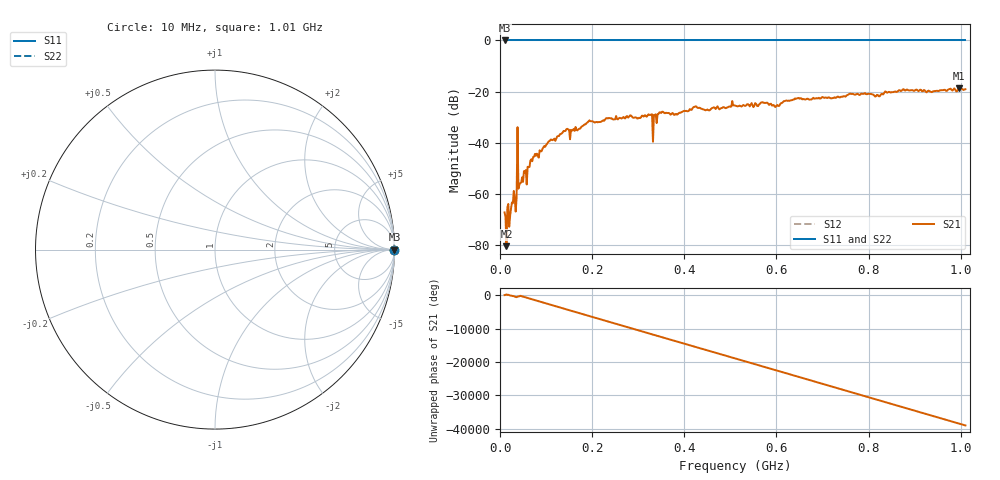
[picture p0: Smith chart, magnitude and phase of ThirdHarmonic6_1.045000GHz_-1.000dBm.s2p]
! 8/16/2025 9:08:50 AM
! C:\ANRITSUVNA\TEMP\TEMP.S2P
! CHANNEL.1
! TR.MEASUREMENT
! RAW.DATA
! RF.CORRECTION.OFF
! AVERAGING.OFF
! IF.BANDWIDTH: 5KHZ
! SWEEPTYPE:  FREQ.SWEEP(Linear)
! Reference Plane Port Info
! PORT:  PORT1  PORT2
! DISTANCE:  0  m  0  m
! TIME:  0  s  0  s
! PHASE.OFFSET:  0  deg.  0  deg.
! LOSS:  0  dB  0  dB
! REF.LOSS:  0  dB  0  dB
! REF.FREQ:  0  Hz  0  Hz
! Power Info
! POWER:  -20  dBm  -20  dBm
! EFF.POWER:  -20  dBm  -20  dBm
! SOURCE.ATTEN:  0  dB  0  dB
! TEST.ATTEN:  0  dB  0  dB
# GHZ S RI R 50.0
! FREQ.GHZ  S11RE  S11IM  S21RE  S21IM  S12RE  S12IM  S22RE  S22IM
!; PortSelection: Port_12
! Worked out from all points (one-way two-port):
!   501 points, 10 MHz to 1.01 GHz, reference 50 ohm
!   highest |S21| = -18.65 dB at 996 MHz (marker M1); lowest = -80.5 dB at 14 MHz (marker M2)
!   lowest |S11| = 0.0 dB at 10 MHz (marker M3)
!   |S11| at or under -10 dB: nowhere
!   |S22| runs from 0.0 to 0.0 dB; largest |S21 - S12| = 1.1
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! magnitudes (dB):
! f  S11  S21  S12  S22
! 10 MHz  0.0  -67.3  0.0  0.0
! 14 MHz  0.0  -80.5  0.0  0.0
! 18 MHz  0.0  -63.9  0.0  0.0
! 28 MHz  0.0  -63.6  0.0  0.0
! 32 MHz  0.0  -61.5  0.0  0.0
! 34 MHz  0.0  -66.9  0.0  0.0
! 42 MHz  0.0  -56.5  0.0  0.0
! 44 MHz  0.0  -55.8  0.0  0.0
! 72 MHz  0.0  -45.6  0.0  0.0
! 108 MHz  0.0  -39.3  0.0  0.0
! 178 MHz  0.0  -33.6  0.0  0.0
! 196 MHz  0.0  -31.6  0.0  0.0
! 326 MHz  0.0  -29.2  0.0  0.0
! 328 MHz  0.0  -29.0  0.0  0.0
! 336 MHz  0.0  -29.1  0.0  0.0
! 344 MHz  0.0  -28.7  0.0  0.0
! 510 MHz  0.0  -25.5  0.0  0.0
! 600 MHz  0.0  -25.5  0.0  0.0
! 678 MHz  0.0  -22.7  0.0  0.0
! 844 MHz  0.0  -20.1  0.0  0.0
! 996 MHz  0.0  -18.7  0.0  0.0
! 1.01 GHz  0.0  -19.1  0.0  0.0
